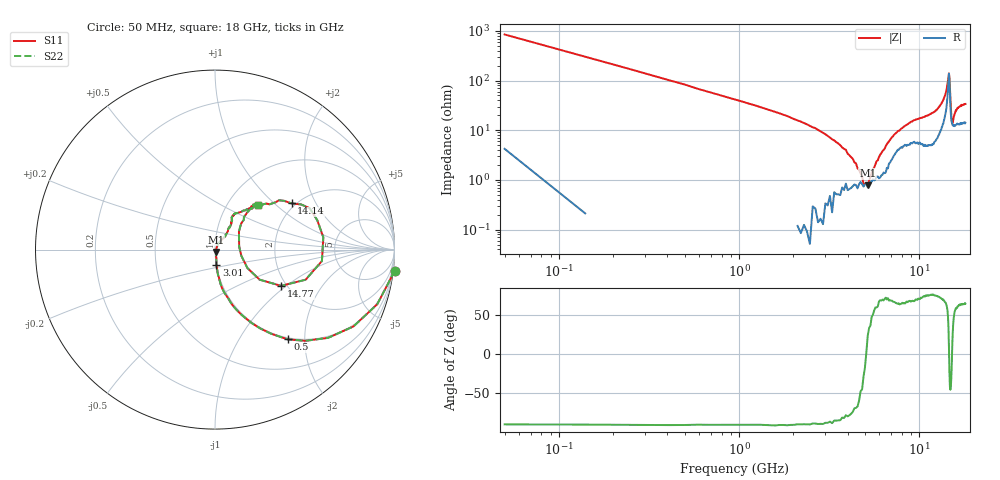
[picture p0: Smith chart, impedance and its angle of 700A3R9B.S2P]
!  American Technical Ceramics  Date:  3/13/98
!  One Norden Lane
!  Huntington Station,  NY.  11746-2102
!  Tel:  (516) 547-5700  Fax:  (516) 547-5748
!  Part Number  700A3R9B
!  Description: Porcelain, High Q, Low ESR
!  Application: Bypass, Coupling, Timing, Feedback
!  Tuning, Impedance Match, Blocking
# GHZ S DB R 50
! Freq  |S11|  S11 Ph  |S21|  S21 Ph  |S12|  S12 Ph  |S22|  S22 Ph
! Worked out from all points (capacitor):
!   201 points, 50 MHz to 18 GHz, reference 50 ohm
!   read as one part in series: C = 3.77 pF near 140 MHz
!   lowest |Z| = 778 mohm at 5.17 GHz (marker M1)
!   series resonance near 5.067 GHz, so ESL is about 260 pH
!   S11 on the Smith chart (normalised r, x): 50 MHz: -1, -17; 500 MHz: 0.97, -1.65; 3.01 GHz: 1.00, -0.17; 14.14 GHz: 1.90, +1.30; 14.77 GHz: 1.87, -0.92; 18 GHz: 1.38, +0.77
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0.05  0.07 -6.8  -18.47 82.9  -18.47 82.9  0.07 -6.8
0.14  -0.41 -18.6  -10.02 71.3  -10.02 71.3  -0.41 -18.6
0.23  -1.09 -29.0  -6.37 61.2  -6.37 61.2  -1.09 -29.0
0.5  -3.83 -51.0  -2.25 39.4  -2.25 39.4  -3.83 -51.0
1.13  -9.67 -72.2  -0.52 18.8  -0.52 18.8  -9.67 -72.2
3.01  -21.40 -84.6  -0.08 4.6  -0.08 4.6  -21.40 -84.6
3.1  -22.09 -84.9  -0.07 4.3  -0.07 4.3  -22.09 -84.9
5.17  -37.41 -69.2  -0.08 -1.1  -0.08 -1.1  -37.41 -69.2
5.7  -43.97 -1.2  -0.12 -2.0  -0.12 -2.0  -43.97 -1.2
6.06  -36.78 51.0  -0.12 -2.8  -0.12 -2.8  -36.78 51.0
6.6  -28.84 60.8  -0.17 -3.7  -0.17 -3.7  -28.84 60.8
7.23  -23.24 56.0  -0.25 -4.9  -0.25 -4.9  -23.24 56.0
9.03  -16.04 56.9  -0.39 -6.7  -0.39 -6.7  -16.04 56.9
12.08  -12.55 59.5  -0.46 -11.4  -0.46 -11.4  -12.55 59.5
13.51  -8.93 43.1  -0.90 -18.7  -0.90 -18.7  -8.93 43.1
14.14  -6.05 31.1  -2.22 -26.4  -2.22 -26.4  -6.05 31.1
14.32  -4.80 23.6  -3.40 -28.1  -3.40 -28.1  -4.80 23.6
14.59  -4.45 -6.1  -7.40 -12.1  -7.40 -12.1  -4.45 -6.1
14.77  -7.53 -28.7  -4.55 15.7  -4.55 15.7  -7.53 -28.7
15.04  -16.47 -12.9  -1.37 6.9  -1.37 6.9  -16.47 -12.9
15.94  -10.91 49.0  -0.83 -7.4  -0.83 -7.4  -10.91 49.0
18  -9.30 46.0  -0.92 -12.9  -0.92 -12.9  -9.30 46.0
